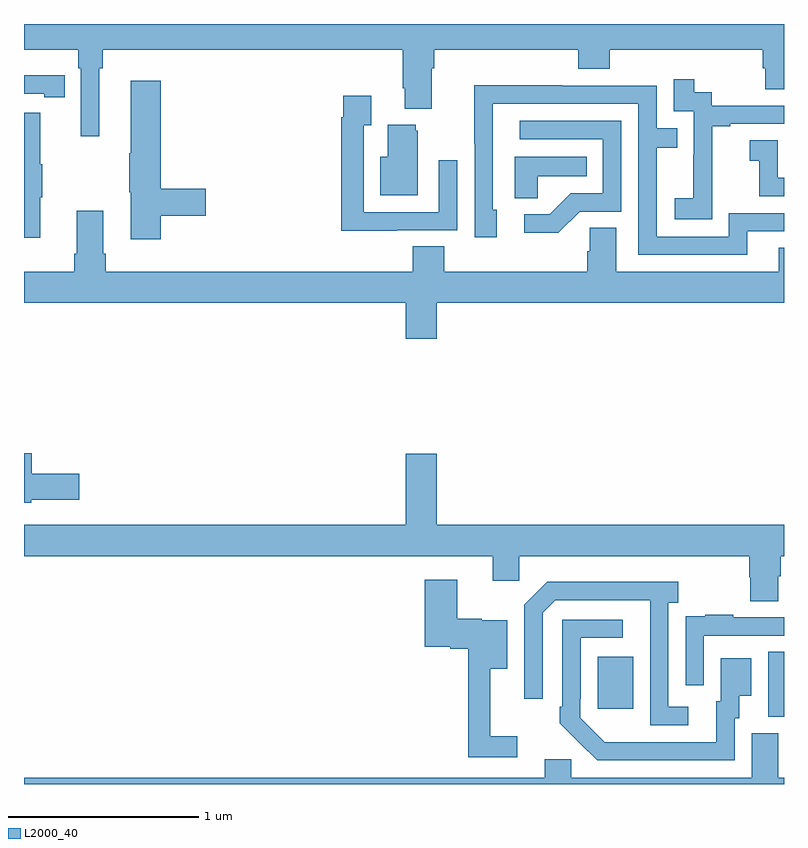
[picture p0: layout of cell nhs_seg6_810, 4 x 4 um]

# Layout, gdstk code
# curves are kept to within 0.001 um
import gdstk
lib = gdstk.Library(unit=1e-6, precision=1e-09)
def R(c, l, rs):  # rectangles x0, y0, x1, y1
    for r in rs: c.add(gdstk.rectangle(r[:2], r[2:], *l))
def P(c, l, *ps):  # polygons
    for p in ps: c.add(gdstk.Polygon(p, *l))
L2000_40 = (2000, 40)

nhs_seg6_810 = lib.new_cell('nhs_seg6_810')
R(nhs_seg6_810, L2000_40, [(166.916,915.853,167,916.196), (166.019,915.897,166.207,916.171)])
P(nhs_seg6_810, L2000_40, [(163.396,919.268),(163.415,919.268),(163.415,919.364),(164.993,919.364),(164.993,919.162),(165.005,919.162),(165.005,919.055),(165.145,919.055),(165.145,919.268),(165.158,919.268),(165.158,919.364),(165.917,919.364),(165.917,919.265),(166.082,919.265),(166.082,919.364),(166.889,919.364),(166.889,919.266),(166.901,919.266),(166.901,919.156),(167,919.156),(167,919.5),(163,919.5),(163,919.364),(163.286,919.364),(163.286,919.268),(163.299,919.268),(163.299,918.909),(163.396,918.909)],
  [(163.214,919.23),(163.106,919.23),(163.106,919.231),(163,919.231),(163,919.134),(163.106,919.134),(163.106,919.114),(163.214,919.114)],
  [(166.623,918.679),(166.622,918.679),(166.622,918.963),(166.717,918.963),(166.717,918.975),(167,918.975),(167,919.071),(166.62,919.071),(166.62,919.14),(166.528,919.14),(166.528,919.21),(166.419,919.21),(166.419,919.041),(166.524,919.041),(166.524,918.812),(166.523,918.812),(166.523,918.583),(166.425,918.583),(166.425,918.473),(166.623,918.473)],
  [(163.721,918.49),(163.957,918.49),(163.957,918.632),(163.721,918.632),(163.721,919.201),(163.562,919.201),(163.562,918.821),(163.555,918.821),(163.555,918.615),(163.562,918.615),(163.562,918.366),(163.721,918.366)],
  [(166.807,918.408),(167,918.408),(167,918.504),(166.71,918.504),(166.71,918.381),(166.329,918.381),(166.329,918.85),(166.439,918.85),(166.439,918.951),(166.329,918.951),(166.329,919.176),(165.833,919.176),(165.833,919.178),(165.37,919.178),(165.37,918.871),(165.372,918.871),(165.372,918.378),(165.487,918.378),(165.487,918.522),(165.468,918.522),(165.468,919.08),(166.233,919.08),(166.233,918.285),(166.807,918.285)],
  [(164.963,918.414),(165.279,918.414),(165.279,918.784),(165.183,918.784),(165.183,918.51),(164.787,918.51),(164.787,918.967),(164.827,918.967),(164.827,919.123),(164.679,919.123),(164.679,919.01),(164.671,919.01),(164.671,918.413),(164.963,918.413)],
  [(163.085,918.587),(163.096,918.587),(163.096,918.761),(163.085,918.761),(163.085,919.033),(163,919.033),(163,918.375),(163.085,918.375)],
  [(165.924,918.513),(166.143,918.513),(166.143,918.99),(165.609,918.99),(165.609,918.894),(166.047,918.894),(166.047,918.609),(165.878,918.609),(165.767,918.498),(165.633,918.498),(165.633,918.401),(165.811,918.401)],
  [(165.073,918.939),(165.062,918.939),(165.062,918.97),(164.915,918.97),(164.915,918.802),(164.876,918.802),(164.876,918.599),(165.073,918.599)],
  [(167,918.69),(166.968,918.69),(166.968,918.889),(166.821,918.889),(166.821,918.779),(166.87,918.779),(166.87,918.594),(167,918.594)],
  [(165.705,918.698),(165.962,918.698),(165.962,918.802),(165.584,918.802),(165.584,918.583),(165.705,918.583)],
  [(165.008,917.844),(165.172,917.844),(165.172,918.032),(167,918.032),(167,918.323),(166.973,918.323),(166.973,918.196),(166.117,918.196),(166.117,918.428),(165.978,918.428),(165.978,918.305),(165.965,918.305),(165.965,918.196),(165.212,918.196),(165.212,918.329),(165.047,918.329),(165.047,918.196),(163.43,918.196),(163.43,918.292),(163.417,918.292),(163.417,918.517),(163.277,918.517),(163.277,918.292),(163.265,918.292),(163.265,918.196),(163,918.196),(163,918.032),(165.008,918.032)],
  [(163.038,916.997),(163.291,916.997),(163.291,917.132),(163.042,917.132),(163.042,917.242),(163,917.242),(163,916.979),(163.038,916.979)],
  [(166.969,916.594),(166.982,916.594),(166.982,916.7),(167,916.7),(167,916.864),(165.172,916.864),(165.172,917.239),(165.008,917.239),(165.008,916.864),(163,916.864),(163,916.7),(165.467,916.7),(165.467,916.569),(165.606,916.569),(165.606,916.7),(166.817,916.7),(166.817,916.587),(166.822,916.587),(166.822,916.462),(166.969,916.462)],
  [(165.595,915.751),(165.455,915.751),(165.455,916.106),(165.544,916.106),(165.544,916.363),(165.408,916.363),(165.408,916.371),(165.28,916.371),(165.28,916.576),(165.11,916.576),(165.11,916.223),(165.243,916.223),(165.243,916.211),(165.337,916.211),(165.337,915.642),(165.595,915.642)],
  [(166.495,915.906),(166.392,915.906),(166.392,916.454),(166.444,916.454),(166.444,916.564),(165.754,916.564),(165.633,916.443),(165.633,915.948),(165.729,915.948),(165.729,916.401),(165.795,916.467),(166.295,916.467),(166.296,915.81),(166.495,915.81)],
  [(166.578,916.281),(167,916.281),(167,916.377),(166.733,916.377),(166.733,916.39),(166.585,916.39),(166.585,916.383),(166.483,916.383),(166.483,916.274),(166.482,916.274),(166.482,916.02),(166.578,916.02)],
  [(166.74,915.846),(166.765,915.846),(166.765,915.965),(166.828,915.965),(166.828,916.162),(166.667,916.162),(166.667,915.936),(166.643,915.936),(166.643,915.72),(166.056,915.721),(165.927,915.849),(165.927,915.949),(165.93,915.949),(165.93,916.269),(166.15,916.269),(166.15,916.365),(165.834,916.365),(165.834,915.907),(165.819,915.907),(165.819,915.819),(166.016,915.624),(166.74,915.624)],
  [(167,915.532),(166.969,915.532),(166.969,915.768),(166.829,915.768),(166.829,915.532),(165.879,915.532),(165.879,915.63),(165.74,915.63),(165.74,915.532),(163,915.532),(163,915.5),(167,915.5)])

lib.write_gds('nhs_seg6_810.gds')
